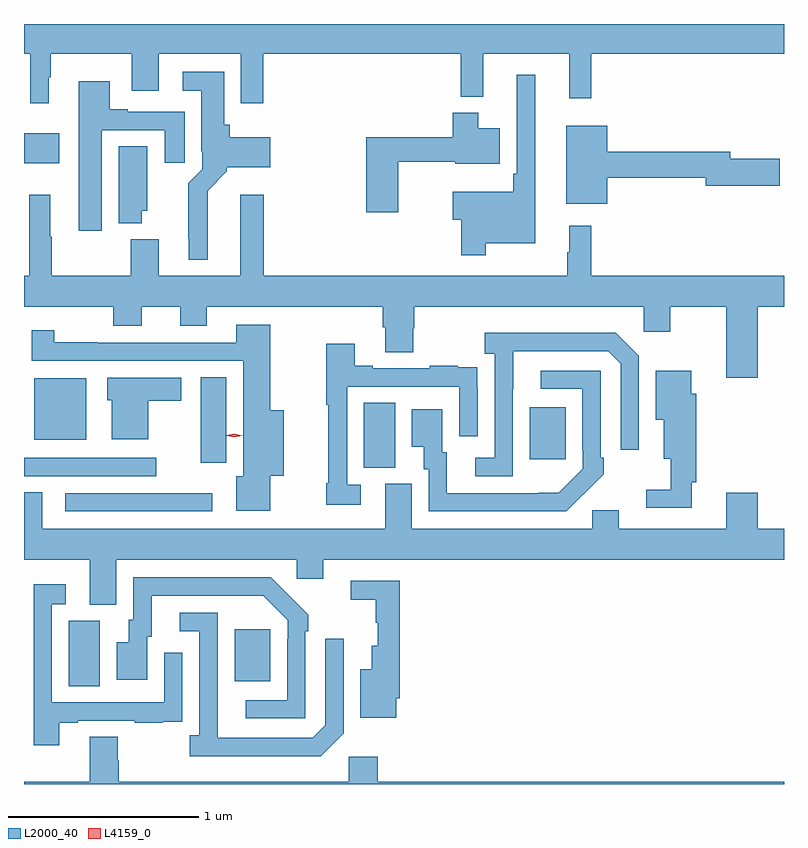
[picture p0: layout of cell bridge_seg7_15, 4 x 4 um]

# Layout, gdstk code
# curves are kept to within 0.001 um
import gdstk
lib = gdstk.Library(unit=1e-6, precision=1e-09)
def R(c, l, rs):  # rectangles x0, y0, x1, y1
    for r in rs: c.add(gdstk.rectangle(r[:2], r[2:], *l))
def P(c, l, *ps):  # polygons
    for p in ps: c.add(gdstk.Polygon(p, *l))
L2000_40 = (2000, 40)
L4159_0 = (4159, 0)

bridge_seg7_15 = lib.new_cell('bridge_seg7_15')
R(bridge_seg7_15, L2000_40, [(1036.67,1045.24,1036.834,1045.584), (1037.543,1045.265,1037.731,1045.54), (1036.653,1046.16,1037.425,1046.256), (1036.435,1046.346,1037.131,1046.442), (1038.224,1046.389,1038.388,1046.732), (1037.366,1046.415,1037.5,1046.867), (1039.097,1046.433,1039.285,1046.707), (1036.49,1046.537,1036.762,1046.86), (1036.435,1047.992,1036.621,1048.15)])
P(bridge_seg7_15, L2000_40, [(1036.564,1048.446),(1036.576,1048.446),(1036.576,1048.568),(1037.003,1048.568),(1037.003,1048.374),(1037.143,1048.374),(1037.143,1048.568),(1037.577,1048.568),(1037.577,1048.308),(1037.693,1048.308),(1037.693,1048.568),(1038.733,1048.568),(1038.733,1048.343),(1038.851,1048.343),(1038.851,1048.568),(1039.304,1048.568),(1039.304,1048.335),(1039.421,1048.335),(1039.421,1048.568),(1040.435,1048.568),(1040.435,1048.725),(1036.435,1048.725),(1036.435,1048.568),(1036.467,1048.568),(1036.467,1048.308),(1036.564,1048.308)],
  [(1037.401,1047.848),(1037.502,1047.95),(1037.502,1047.971),(1037.731,1047.971),(1037.731,1048.129),(1037.519,1048.129),(1037.519,1048.194),(1037.488,1048.194),(1037.488,1048.474),(1037.271,1048.474),(1037.271,1048.373),(1037.369,1048.373),(1037.369,1048.054),(1037.373,1048.054),(1037.373,1047.96),(1037.299,1047.886),(1037.299,1047.595),(1037.303,1047.595),(1037.303,1047.485),(1037.401,1047.485)],
  [(1038.865,1047.572),(1039.126,1047.572),(1039.126,1048.459),(1039.029,1048.459),(1039.029,1047.937),(1039.009,1047.937),(1039.009,1047.841),(1038.692,1047.841),(1038.692,1047.694),(1038.736,1047.694),(1038.736,1047.507),(1038.865,1047.507)],
  [(1036.843,1048.167),(1037.177,1048.167),(1037.177,1047.996),(1037.281,1047.996),(1037.281,1048.263),(1036.981,1048.263),(1036.981,1048.276),(1036.885,1048.276),(1036.885,1048.423),(1036.724,1048.423),(1036.724,1047.636),(1036.843,1047.636)],
  [(1038.406,1048),(1038.704,1048),(1038.704,1047.989),(1038.94,1047.989),(1038.94,1048.177),(1038.826,1048.177),(1038.826,1048.258),(1038.692,1048.258),(1038.692,1048.129),(1038.236,1048.129),(1038.236,1047.735),(1038.406,1047.735)],
  [(1039.504,1047.916),(1040.024,1047.916),(1040.024,1047.874),(1040.413,1047.874),(1040.413,1048.016),(1040.152,1048.016),(1040.152,1048.052),(1039.504,1048.052),(1039.504,1048.189),(1039.289,1048.189),(1039.289,1047.779),(1039.504,1047.779)],
  [(1037.056,1047.741),(1037.083,1047.741),(1037.083,1048.082),(1036.934,1048.082),(1036.934,1047.677),(1037.056,1047.677)],
  [(1040.296,1047.236),(1040.435,1047.236),(1040.435,1047.4),(1039.421,1047.4),(1039.421,1047.664),(1039.304,1047.664),(1039.304,1047.524),(1039.293,1047.524),(1039.293,1047.4),(1037.696,1047.4),(1037.696,1047.826),(1037.573,1047.826),(1037.573,1047.4),(1037.143,1047.4),(1037.143,1047.592),(1036.996,1047.592),(1036.996,1047.4),(1036.581,1047.4),(1036.581,1047.605),(1036.573,1047.605),(1036.573,1047.826),(1036.463,1047.826),(1036.463,1047.4),(1036.435,1047.4),(1036.435,1047.236),(1036.904,1047.236),(1036.904,1047.137),(1037.056,1047.137),(1037.056,1047.236),(1037.258,1047.236),(1037.258,1047.137),(1037.398,1047.137),(1037.398,1047.236),(1038.323,1047.236),(1038.323,1047.13),(1038.335,1047.13),(1038.335,1046.998),(1038.483,1046.998),(1038.483,1047.123),(1038.488,1047.123),(1038.488,1047.236),(1039.698,1047.236),(1039.698,1047.105),(1039.837,1047.105),(1039.837,1047.236),(1040.132,1047.236),(1040.132,1046.862),(1040.296,1046.862)],
  [(1037.73,1046.348),(1037.803,1046.348),(1037.803,1046.692),(1037.73,1046.692),(1037.73,1047.142),(1037.552,1047.142),(1037.552,1047.048),(1036.82,1047.048),(1036.82,1047.05),(1036.593,1047.05),(1036.593,1047.112),(1036.475,1047.112),(1036.475,1046.952),(1037.588,1046.952),(1037.588,1046.344),(1037.552,1046.344),(1037.552,1046.162),(1037.73,1046.162)],
  [(1039.008,1046.803),(1039.009,1047.003),(1039.509,1047.003),(1039.575,1046.937),(1039.575,1046.484),(1039.671,1046.484),(1039.671,1046.979),(1039.55,1047.1),(1038.861,1047.1),(1038.861,1046.99),(1038.912,1046.99),(1038.912,1046.442),(1038.81,1046.442),(1038.81,1046.346),(1039.008,1046.346)],
  [(1038.208,1046.301),(1038.135,1046.301),(1038.135,1046.817),(1038.726,1046.817),(1038.726,1046.555),(1038.822,1046.555),(1038.822,1046.81),(1038.821,1046.81),(1038.821,1046.919),(1038.719,1046.919),(1038.719,1046.926),(1038.571,1046.926),(1038.571,1046.913),(1038.271,1046.913),(1038.271,1046.926),(1038.175,1046.926),(1038.175,1047.043),(1038.027,1047.043),(1038.027,1046.72),(1038.037,1046.72),(1038.037,1046.308),(1038.027,1046.308),(1038.027,1046.196),(1038.208,1046.196)],
  [(1039.379,1046.251),(1039.38,1046.25),(1039.485,1046.355),(1039.485,1046.443),(1039.47,1046.443),(1039.47,1046.901),(1039.155,1046.901),(1039.155,1046.805),(1039.374,1046.805),(1039.374,1046.485),(1039.377,1046.485),(1039.377,1046.385),(1039.249,1046.257),(1038.661,1046.256),(1038.661,1046.472),(1038.637,1046.472),(1038.637,1046.698),(1038.476,1046.698),(1038.476,1046.501),(1038.539,1046.501),(1038.539,1046.382),(1038.564,1046.382),(1038.564,1046.16),(1039.288,1046.16)],
  [(1039.949,1046.312),(1039.973,1046.312),(1039.973,1046.778),(1039.948,1046.778),(1039.948,1046.899),(1039.76,1046.899),(1039.76,1046.642),(1039.802,1046.642),(1039.802,1046.438),(1039.839,1046.438),(1039.839,1046.275),(1039.71,1046.275),(1039.71,1046.178),(1039.949,1046.178)],
  [(1037.089,1046.741),(1037.263,1046.741),(1037.263,1046.863),(1036.874,1046.863),(1036.874,1046.745),(1036.898,1046.745),(1036.898,1046.54),(1037.089,1046.54)],
  [(1036.921,1045.904),(1037.871,1045.904),(1037.871,1045.806),(1038.01,1045.806),(1038.01,1045.904),(1040.435,1045.904),(1040.435,1046.068),(1040.296,1046.068),(1040.296,1046.257),(1040.132,1046.257),(1040.132,1046.068),(1039.564,1046.068),(1039.564,1046.166),(1039.425,1046.166),(1039.425,1046.068),(1038.475,1046.068),(1038.475,1046.304),(1038.335,1046.304),(1038.335,1046.068),(1036.531,1046.068),(1036.531,1046.261),(1036.435,1046.261),(1036.435,1045.904),(1036.781,1045.904),(1036.781,1045.669),(1036.921,1045.669)],
  [(1037.916,1045.529),(1037.931,1045.529),(1037.931,1045.617),(1037.734,1045.812),(1037.01,1045.812),(1037.01,1045.59),(1036.985,1045.59),(1036.985,1045.471),(1036.922,1045.471),(1036.922,1045.275),(1037.083,1045.275),(1037.083,1045.5),(1037.107,1045.5),(1037.107,1045.716),(1037.695,1045.716),(1037.823,1045.587),(1037.823,1045.487),(1037.82,1045.487),(1037.82,1045.167),(1037.601,1045.167),(1037.601,1045.071),(1037.916,1045.071)],
  [(1038.394,1045.177),(1038.413,1045.177),(1038.413,1045.794),(1038.156,1045.794),(1038.156,1045.696),(1038.285,1045.696),(1038.285,1045.575),(1038.296,1045.575),(1038.296,1045.453),(1038.266,1045.453),(1038.266,1045.33),(1038.206,1045.33),(1038.206,1045.073),(1038.394,1045.073)],
  [(1036.621,1045.047),(1036.717,1045.047),(1036.717,1045.059),(1037.017,1045.059),(1037.017,1045.047),(1037.165,1045.047),(1037.165,1045.053),(1037.267,1045.053),(1037.267,1045.162),(1037.268,1045.162),(1037.268,1045.417),(1037.172,1045.417),(1037.172,1045.155),(1036.581,1045.155),(1036.581,1045.671),(1036.654,1045.671),(1036.654,1045.777),(1036.485,1045.777),(1036.485,1044.93),(1036.621,1044.93)],
  [(1038.117,1044.993),(1038.117,1045.489),(1038.021,1045.489),(1038.021,1045.035),(1037.955,1044.969),(1037.455,1044.969),(1037.454,1045.626),(1037.256,1045.626),(1037.256,1045.53),(1037.358,1045.53),(1037.358,1044.982),(1037.307,1044.982),(1037.307,1044.872),(1037.996,1044.872)],
  [(1040.435,1044.736),(1038.296,1044.736),(1038.296,1044.868),(1038.144,1044.868),(1038.144,1044.736),(1036.934,1044.736),(1036.934,1044.849),(1036.929,1044.849),(1036.929,1044.974),(1036.781,1044.974),(1036.781,1044.736),(1036.435,1044.736),(1036.435,1044.725),(1040.435,1044.725)])
P(bridge_seg7_15, L4159_0, [(1037.542,1046.549),(1037.502,1046.559),(1037.502,1046.559),(1037.502,1046.56),(1037.542,1046.569),(1037.583,1046.559),(1037.583,1046.559),(1037.583,1046.558)])

lib.write_gds('bridge_seg7_15.gds')
